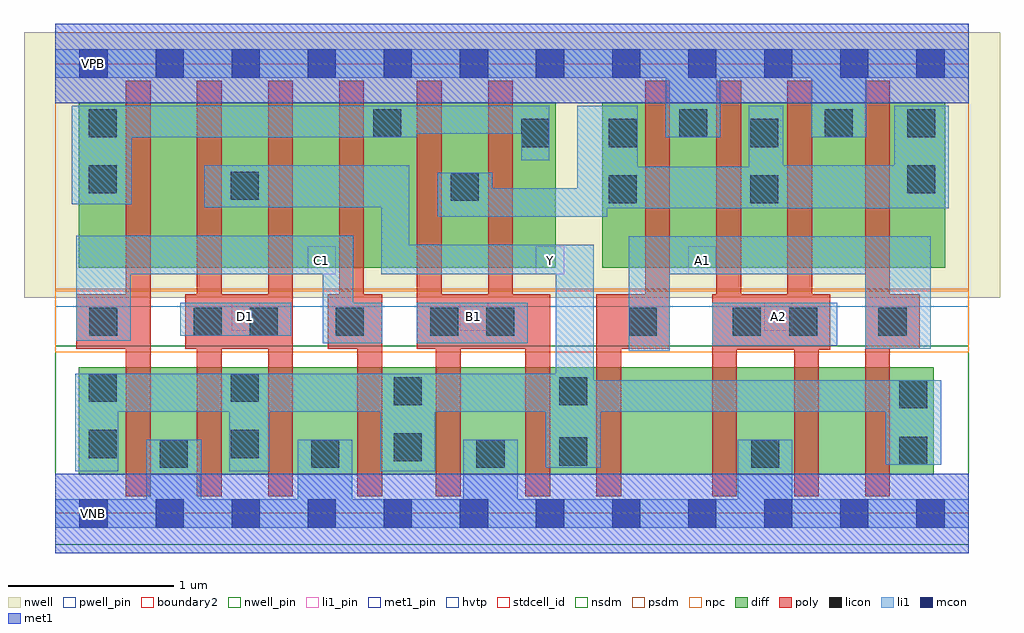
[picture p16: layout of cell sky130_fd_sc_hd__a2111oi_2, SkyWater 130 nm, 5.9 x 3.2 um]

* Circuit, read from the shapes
.subckt sky130_fd_sc_hd__a2111oi_2 A1 A2 B1 C1 D1 VGND VNB VPB VPWR Y
XM1 VGND C1 Y VNB sky130_fd_pr__nfet_01v8 w=0.65 l=0.15 m=2
XM2 Y D1 VGND VNB sky130_fd_pr__nfet_01v8 w=0.65 l=0.15 m=2
XM3 VGND B1 Y VNB sky130_fd_pr__nfet_01v8 w=0.65 l=0.15 m=2
XM4 n1 A1 Y VNB sky130_fd_pr__nfet_01v8 w=0.65 l=0.15
XM5 VGND A2 n1 VNB sky130_fd_pr__nfet_01v8 w=0.65 l=0.15
XM6 n2 A2 VGND VNB sky130_fd_pr__nfet_01v8 w=0.65 l=0.15
XM7 Y A1 n2 VNB sky130_fd_pr__nfet_01v8 w=0.65 l=0.15
XM8 n3 C1 n4 VPB sky130_fd_pr__pfet_01v8_hvt w=1 l=0.15
XM9 Y D1 n3 VPB sky130_fd_pr__pfet_01v8_hvt w=1 l=0.15
XM10 n5 D1 Y VPB sky130_fd_pr__pfet_01v8_hvt w=1 l=0.15
XM11 n4 C1 n5 VPB sky130_fd_pr__pfet_01v8_hvt w=1 l=0.15
XM12 n6 B1 n4 VPB sky130_fd_pr__pfet_01v8_hvt w=1 l=0.15 m=2
XM13 VPWR A1 n6 VPB sky130_fd_pr__pfet_01v8_hvt w=1 l=0.15 m=2
XM14 n6 A2 VPWR VPB sky130_fd_pr__pfet_01v8_hvt w=1 l=0.15 m=2
.ends

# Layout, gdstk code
import gdstk
lib = gdstk.Library(unit=1e-6, precision=1e-09)
def R(c, l, rs):  # rectangles x0, y0, x1, y1
    for r in rs: c.add(gdstk.rectangle(r[:2], r[2:], *l))
def A(c, l, x, y, w, h, nx, ny, dx, dy):  # array of equal rectangles
    R(c, l, [(x+i*dx, y+j*dy, x+i*dx+w, y+j*dy+h) for i in range(nx) for j in range(ny)])
def P(c, l, *ps):  # polygons
    for p in ps: c.add(gdstk.Polygon(p, *l))
nwell_pin = (64, 16)
nwell = (64, 20)
diff = (65, 20)
poly = (66, 20)
licon = (66, 44)
li1_pin = (67, 16)
li1 = (67, 20)
mcon = (67, 44)
met1_pin = (68, 16)
met1 = (68, 20)
hvtp = (78, 44)
stdcell_id = (81, 4)
nsdm = (93, 44)
psdm = (94, 20)
npc = (95, 20)
pwell_pin = (122, 16)
boundary2 = (236, 0)

sky130_fd_sc_hd__a2111oi = lib.new_cell('sky130_fd_sc_hd__a2111oi_2')
R(sky130_fd_sc_hd__a2111oi, nwell_pin, [(0.145,2.635,0.315,2.805)])
R(sky130_fd_sc_hd__a2111oi, nwell, [(-0.19,1.305,5.71,2.91)])
R(sky130_fd_sc_hd__a2111oi, diff, [(0.14,0.235,5.31,0.885), (0.14,1.485,3.025,2.485), (3.305,1.485,5.38,2.485)])
P(sky130_fd_sc_hd__a2111oi, poly, [(1.435,2.615),(1.285,2.615),(1.285,1.325),(1.005,1.325),(1.005,2.615),(0.855,2.615),(0.855,1.325),(0.785,1.325),(0.785,0.995),(0.855,0.995),(0.855,0.105),(1.005,0.105),(1.005,0.995),(1.285,0.995),(1.285,0.105),(1.435,0.105)],
  [(1.975,1.325),(1.865,1.325),(1.865,2.615),(1.715,2.615),(1.715,1.325),(1.645,1.325),(1.645,0.995),(1.825,0.995),(1.825,0.105),(1.975,0.105)],
  [(2.99,1.325),(2.765,1.325),(2.765,2.615),(2.615,2.615),(2.615,1.325),(2.335,1.325),(2.335,2.615),(2.185,2.615),(2.185,0.995),(2.3,0.995),(2.3,0.105),(2.45,0.105),(2.45,0.995),(2.84,0.995),(2.84,0.105),(2.99,0.105)],
  [(0.575,2.615),(0.425,2.615),(0.425,1.325),(0.125,1.325),(0.125,0.995),(0.425,0.995),(0.425,0.105),(0.575,0.105)],
  [(3.715,2.615),(3.565,2.615),(3.565,1.325),(3.27,1.325),(3.27,0.105),(3.42,0.105),(3.42,0.995),(3.715,0.995)],
  [(4.685,1.325),(4.575,1.325),(4.575,2.615),(4.425,2.615),(4.425,1.325),(4.145,1.325),(4.145,2.615),(3.995,2.615),(3.995,1.325),(3.97,1.325),(3.97,0.105),(4.12,0.105),(4.12,0.99),(4.465,0.99),(4.465,0.105),(4.615,0.105),(4.615,0.99),(4.685,0.99)],
  [(5.225,1.325),(5.045,1.325),(5.045,2.615),(4.895,2.615),(4.895,0.105),(5.045,0.105),(5.045,0.995),(5.225,0.995)])
R(sky130_fd_sc_hd__a2111oi, licon, [(0.63,0.275,0.8,0.445), (1.545,0.275,1.715,0.445), (2.545,0.275,2.715,0.445), (4.205,0.275,4.375,0.445), (3.045,0.29,3.215,0.46), (5.1,0.295,5.27,0.465), (2.045,0.315,2.215,0.485), (0.2,0.335,0.37,0.505), (1.06,0.335,1.23,0.505), (5.1,0.635,5.27,0.805), (2.045,0.655,2.215,0.825), (3.045,0.655,3.215,0.825), (0.2,0.675,0.37,0.845), (1.06,0.675,1.23,0.845), (0.205,1.075,0.375,1.245), (0.835,1.075,1.005,1.245), (1.175,1.075,1.345,1.245), (1.695,1.075,1.865,1.245), (2.265,1.075,2.435,1.245), (2.605,1.075,2.775,1.245), (3.465,1.075,3.635,1.245), (4.095,1.075,4.265,1.245), (4.435,1.075,4.605,1.245), (4.975,1.075,5.145,1.245), (3.345,1.875,3.515,2.045), (4.2,1.875,4.37,2.045), (2.39,1.89,2.56,2.06), (1.06,1.895,1.23,2.065), (0.2,1.935,0.37,2.105), (5.15,1.935,5.32,2.105), (2.815,2.215,2.985,2.385), (3.345,2.215,3.515,2.385), (4.2,2.215,4.37,2.385), (0.2,2.275,0.37,2.445), (1.92,2.275,2.09,2.445), (3.77,2.275,3.94,2.445), (4.65,2.275,4.82,2.445), (5.15,2.275,5.32,2.445)])
R(sky130_fd_sc_hd__a2111oi, li1_pin, [(1.065,1.105,1.235,1.275), (2.445,1.105,2.615,1.275), (4.285,1.105,4.455,1.275), (1.525,1.445,1.695,1.615), (2.905,1.445,3.075,1.615), (3.825,1.445,3.995,1.615)])
R(sky130_fd_sc_hd__a2111oi, li1, [(3.97,1.015,4.725,1.275), (2.185,1.03,2.855,1.275), (0.755,1.075,1.425,1.275)])
P(sky130_fd_sc_hd__a2111oi, li1, [(5.52,0.085),(4.455,0.085),(4.455,0.445),(4.125,0.445),(4.125,0.085),(2.795,0.085),(2.795,0.445),(2.465,0.445),(2.465,0.085),(1.795,0.085),(1.795,0.445),(1.465,0.445),(1.465,0.085),(0.88,0.085),(0.88,0.445),(0.55,0.445),(0.55,0.085),(0,0.085),(0,-0.085),(5.52,-0.085)],
  [(5.52,2.805),(0,2.805),(0,2.635),(3.69,2.635),(3.69,2.275),(4.02,2.275),(4.02,2.635),(4.57,2.635),(4.57,2.275),(4.9,2.275),(4.9,2.635),(5.52,2.635)],
  [(5.29,1.675),(3.465,1.675),(3.465,0.985),(3.715,0.985),(3.715,1.445),(4.895,1.445),(4.895,0.995),(5.29,0.995)],
  [(1.975,1.275),(1.8,1.275),(1.8,1.68),(0.125,1.68),(0.125,1.045),(0.455,1.045),(0.455,1.445),(1.615,1.445),(1.615,1.03),(1.975,1.03)],
  [(2.985,2.465),(0.1,2.465),(0.1,1.87),(0.46,1.87),(0.46,2.275),(2.185,2.275),(2.185,2.295),(2.815,2.295),(2.815,2.135),(2.985,2.135)],
  [(5.355,0.805),(3.255,0.805),(3.255,1.625),(2.14,1.625),(2.14,2.105),(0.9,2.105),(0.9,1.85),(1.97,1.85),(1.97,1.445),(3.025,1.445),(3.025,0.845),(0.12,0.845),(0.12,0.255),(0.38,0.255),(0.38,0.615),(1.05,0.615),(1.05,0.255),(1.295,0.255),(1.295,0.615),(1.965,0.615),(1.965,0.255),(2.295,0.255),(2.295,0.615),(2.965,0.615),(2.965,0.275),(3.295,0.275),(3.295,0.615),(5.02,0.615),(5.02,0.295),(5.355,0.295)],
  [(5.4,2.465),(5.07,2.465),(5.07,2.105),(4.4,2.105),(4.4,2.465),(4.19,2.465),(4.19,2.095),(3.52,2.095),(3.52,2.465),(3.155,2.465),(3.155,1.965),(2.64,1.965),(2.64,2.06),(2.31,2.06),(2.31,1.795),(3.335,1.795),(3.335,1.845),(5.4,1.845)])
A(sky130_fd_sc_hd__a2111oi, mcon, 0.145, -0.085, 0.17, 0.17, 12, 2, 0.46, 2.72)
R(sky130_fd_sc_hd__a2111oi, met1_pin, [(0.145,-0.085,0.315,0.085), (0.145,2.635,0.315,2.805)])
R(sky130_fd_sc_hd__a2111oi, hvtp, [(0,1.25,5.52,2.72)])
R(sky130_fd_sc_hd__a2111oi, stdcell_id, [(0,0,5.52,2.72)])
R(sky130_fd_sc_hd__a2111oi, nsdm, [(0,-0.19,5.52,1.015)])
R(sky130_fd_sc_hd__a2111oi, psdm, [(0,1.355,5.52,2.91)])
R(sky130_fd_sc_hd__a2111oi, npc, [(0,0.975,5.52,1.345)])
R(sky130_fd_sc_hd__a2111oi, pwell_pin, [(0.145,-0.085,0.315,0.085)])
R(sky130_fd_sc_hd__a2111oi, boundary2, [(0,0,5.52,2.72)])
sky130_fd_sc_hd__a2111oi.add(gdstk.FlexPath([(0,2.72),(5.52,2.72)], 0.48, ends="flush", simple_path=True, layer=68, datatype=20))  # met1
sky130_fd_sc_hd__a2111oi.add(gdstk.FlexPath([(0,0),(5.52,0)], 0.48, ends="flush", simple_path=True, layer=68, datatype=20))  # met1
sky130_fd_sc_hd__a2111oi.add(gdstk.Label('D1', (1.15,1.19), layer=67, texttype=5))
sky130_fd_sc_hd__a2111oi.add(gdstk.Label('C1', (1.61,1.53), layer=67, texttype=5))
sky130_fd_sc_hd__a2111oi.add(gdstk.Label('A2', (4.37,1.19), layer=67, texttype=5))
sky130_fd_sc_hd__a2111oi.add(gdstk.Label('A1', (3.91,1.53), layer=67, texttype=5))
sky130_fd_sc_hd__a2111oi.add(gdstk.Label('Y', (2.99,1.53), layer=67, texttype=5))
sky130_fd_sc_hd__a2111oi.add(gdstk.Label('B1', (2.53,1.19), layer=67, texttype=5))
sky130_fd_sc_hd__a2111oi.add(gdstk.Label('VNB', (0.23,0), layer=64, texttype=59))
sky130_fd_sc_hd__a2111oi.add(gdstk.Label('VPB', (0.23,2.72), layer=64, texttype=5))
sky130_fd_sc_hd__a2111oi.add(gdstk.Label('VGND', (0.23,0), layer=68, texttype=5))
sky130_fd_sc_hd__a2111oi.add(gdstk.Label('VPWR', (0.23,2.72), layer=68, texttype=5))
sky130_fd_sc_hd__a2111oi.add(gdstk.Label('a2111oi_2', (0,0), layer=83, texttype=44))

lib.write_gds('sky130_fd_sc_hd__a2111oi_2.gds')
